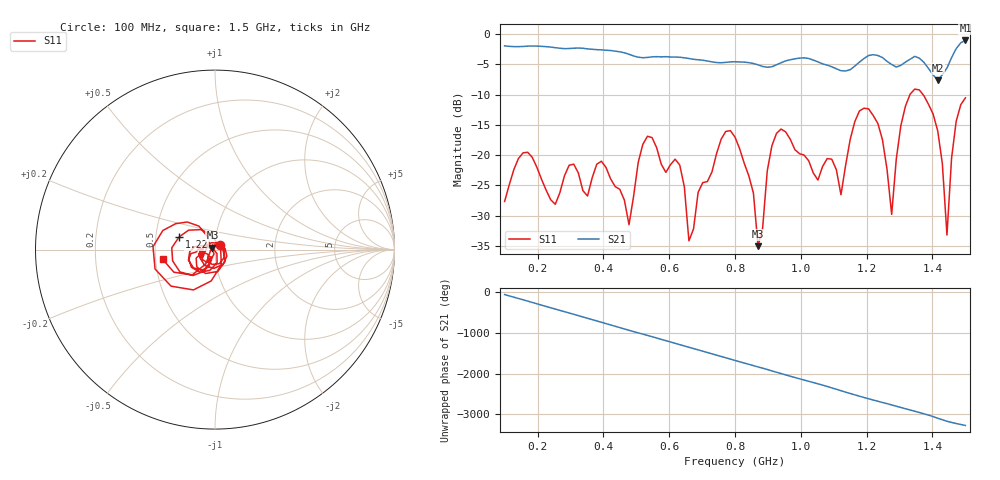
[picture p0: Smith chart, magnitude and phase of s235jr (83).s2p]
! NanoVNA-App
! Date: 2025-09-26 09:45:26
! Start: 100MHz Stop: 1,5GHz Points: 101
! S-Parameter data: F S11 S21 S12 S22
# Hz S RI R 50
!  Frequency  S11_Real  S11_Imag  S21_Real  S21_Imag  S12_Real  S12_Imag  S22_Real  S22_Imag
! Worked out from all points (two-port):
!   101 points, 100 MHz to 1.5 GHz, reference 50 ohm
!   highest |S21| = -1.06 dB at 1.5 GHz (marker M1); lowest = -7.6 dB at 1.416 GHz (marker M2)
!   |S21| within 3 dB of the highest: start of sweep to 662.1 MHz; 1.192 GHz to 1.252 GHz (60.46 MHz wide, 4.95 % of centre) (the widest 2 of 5)
!   lowest |S11| = -35.0 dB at 870 MHz (marker M3), VSWR 1.04, Z = 48.6 + j0.984 ohm
!   |S11| at or under -10 dB: start of sweep to 1.332 GHz; 1.371 GHz to end of sweep
!   S12 and S22 are empty: the file has one direction only
!   S11 on the Smith chart (normalised r, x): 100 MHz: 1.06, +0.06; 1.22 GHz: 0.66, +0.10; 1.5 GHz: 0.54, -0.06
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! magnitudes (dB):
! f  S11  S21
! 100 MHz  -27.6  -2.0
! 156 MHz  -19.6  -2.0
! 338 MHz  -25.9  -2.3
! 394 MHz  -21.0  -2.6
! 478 MHz  -31.5  -3.3
! 520 MHz  -18.2  -3.9
! 576 MHz  -21.5  -3.8
! 632 MHz  -21.6  -3.8
! 660 MHz  -34.2  -4.0
! 800 MHz  -17.0  -4.6
! 870 MHz  -35.0  -5.1
! 926 MHz  -16.4  -5.1
! 1.038 GHz  -23.0  -4.3
! 1.122 GHz  -26.5  -6.1
! 1.164 GHz  -14.5  -5.3
! 1.22 GHz  -13.5  -3.4
! 1.276 GHz  -29.8  -5.0
! 1.332 GHz  -9.9  -4.2
! 1.416 GHz  -16.0  -7.6
! 1.444 GHz  -33.2  -5.6
! 1.472 GHz  -14.4  -2.4
! 1.5 GHz  -10.5  -1.1
